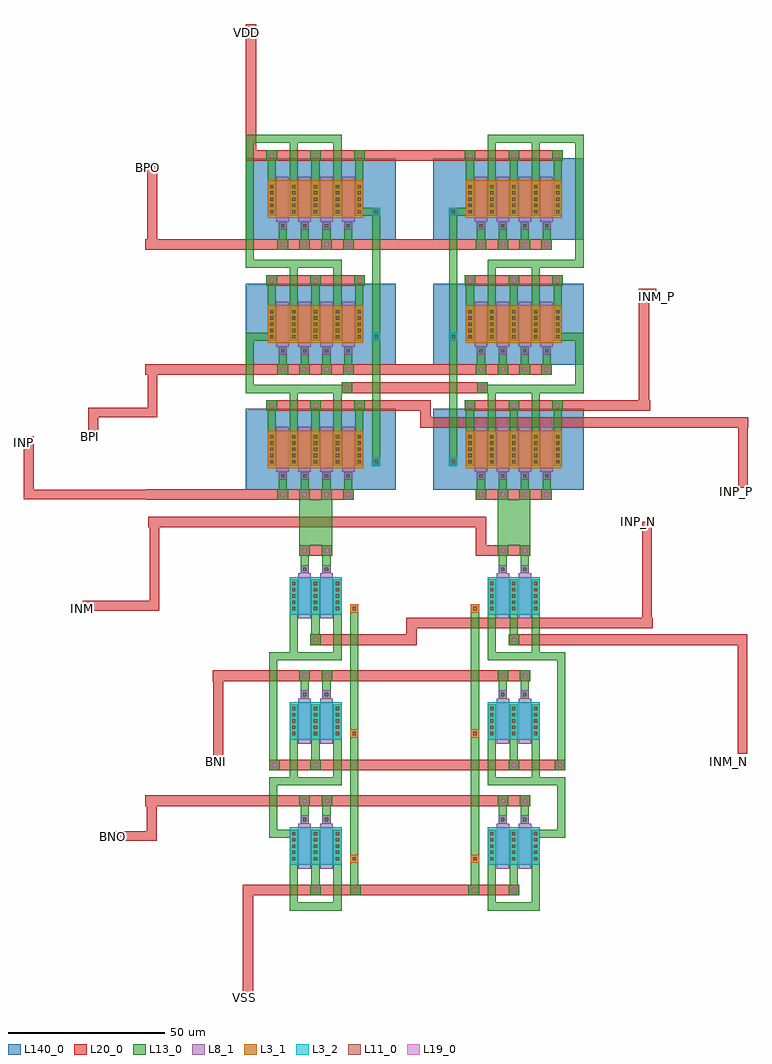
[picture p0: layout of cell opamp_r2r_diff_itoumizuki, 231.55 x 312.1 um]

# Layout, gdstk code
import gdstk
lib = gdstk.Library(unit=1e-6, precision=1e-07)
def R(c, l, rs):  # rectangles x0, y0, x1, y1
    for r in rs: c.add(gdstk.rectangle(r[:2], r[2:], *l))
def A(c, l, x, y, w, h, nx, ny, dx, dy):  # array of equal rectangles
    R(c, l, [(x+i*dx, y+j*dy, x+i*dx+w, y+j*dy+h) for i in range(nx) for j in range(ny)])
L3_1 = (3, 1)
L3_2 = (3, 2)
L8_1 = (8, 1)
L11_0 = (11, 0)
L13_0 = (13, 0)
L19_0 = (19, 0)
L20_0 = (20, 0)
L140_0 = (140, 0)

fet_p = lib.new_cell('fet_p')
R(fet_p, L3_1, [(-15.3,-6,15.3,6)])
A(fet_p, L11_0, -14.5, -4.5, 1, 1, 5, 5, 7, 2)
A(fet_p, L13_0, -15.3, -5.3, 2.6, 10.6, 5, 1, 7, 0)
fet_p.add(gdstk.FlexPath([(3.5,-7.2),(3.5,7.2)], 4, ends="flush", simple_path=True, layer=8, datatype=1))  # L8_1
fet_p.add(gdstk.FlexPath([(-3.5,-7.2),(-3.5,7.2)], 4, ends="flush", simple_path=True, layer=8, datatype=1))  # L8_1
fet_p.add(gdstk.FlexPath([(10.5,-7.2),(10.5,7.2)], 4, ends="flush", simple_path=True, layer=8, datatype=1))  # L8_1
fet_p.add(gdstk.FlexPath([(-10.5,-7.2),(-10.5,7.2)], 4, ends="flush", simple_path=True, layer=8, datatype=1))  # L8_1

cont_n = lib.new_cell('cont_n')
R(cont_n, L3_2, [(-1.3,-1.3,1.3,1.3)])
R(cont_n, L11_0, [(-0.5,-0.5,0.5,0.5)])
R(cont_n, L13_0, [(-1.3,-1.3,1.3,1.3)])

via_1 = lib.new_cell('via_1')
R(via_1, L13_0, [(-1.7,-1.7,1.7,1.7)])
R(via_1, L19_0, [(-0.7,-0.7,0.7,0.7)])
R(via_1, L20_0, [(-1.7,-1.7,1.7,1.7)])

cont_g = lib.new_cell('cont_g')
R(cont_g, L8_1, [(-1.3,-1.3,1.3,1.3)])
R(cont_g, L11_0, [(-0.5,-0.5,0.5,0.5)])
R(cont_g, L13_0, [(-1.3,-1.3,1.3,1.3)])

fet_n = lib.new_cell('fet_n')
R(fet_n, L3_2, [(-8.3,-6,8.3,6)])
A(fet_n, L11_0, -7.5, -4.5, 1, 1, 3, 5, 7, 2)
A(fet_n, L13_0, -8.3, -5.3, 2.6, 10.6, 3, 1, 7, 0)
fet_n.add(gdstk.FlexPath([(3.5,-7.2),(3.5,7.2)], 4, ends="flush", simple_path=True, layer=8, datatype=1))  # L8_1
fet_n.add(gdstk.FlexPath([(-3.5,-7.2),(-3.5,7.2)], 4, ends="flush", simple_path=True, layer=8, datatype=1))  # L8_1

cont_p = lib.new_cell('cont_p')
R(cont_p, L3_1, [(-1.3,-1.3,1.3,1.3)])
R(cont_p, L11_0, [(-0.5,-0.5,0.5,0.5)])
R(cont_p, L13_0, [(-1.3,-1.3,1.3,1.3)])

opamp_r2r_diff_itoumizuk = lib.new_cell('opamp_r2r_diff_itoumizuki')
R(opamp_r2r_diff_itoumizuk, L13_0, [(88.2,145.4,98.7,160), (151.6,145.4,162.1,160)])
A(opamp_r2r_diff_itoumizuk, L140_0, 71.1, 163.1, 48, 26, 1, 3, 0, 40)
A(opamp_r2r_diff_itoumizuk, L140_0, 131.1, 163.1, 48, 26, 1, 3, 0, 40)
opamp_r2r_diff_itoumizuk.add(gdstk.FlexPath([(141.5,252.1),(136.1,252.1)], 2.6, ends="flush", simple_path=True, layer=13, datatype=0))  # L13_0
opamp_r2r_diff_itoumizuk.add(gdstk.FlexPath([(148.5,195.4),(165.1,195.4)], 2.6, ends="flush", simple_path=True, layer=13, datatype=0))  # L13_0
opamp_r2r_diff_itoumizuk.add(gdstk.FlexPath([(163.8,181.4),(163.8,195.4)], 2.6, ends="flush", simple_path=True, layer=13, datatype=0))  # L13_0
opamp_r2r_diff_itoumizuk.add(gdstk.FlexPath([(170.8,181.4),(170.8,188.4)], 2.6, ends="flush", simple_path=True, layer=13, datatype=0))  # L13_0
opamp_r2r_diff_itoumizuk.add(gdstk.FlexPath([(156.8,181.4),(156.8,188.4)], 2.6, ends="flush", simple_path=True, layer=13, datatype=0))  # L13_0
opamp_r2r_diff_itoumizuk.add(gdstk.FlexPath([(142.8,181.4),(142.8,188.4)], 2.6, ends="flush", simple_path=True, layer=13, datatype=0))  # L13_0
opamp_r2r_diff_itoumizuk.add(gdstk.FlexPath([(149.8,181.4),(149.8,195.4)], 2.6, ends="flush", simple_path=True, layer=13, datatype=0))  # L13_0
opamp_r2r_diff_itoumizuk.add(gdstk.FlexPath([(148.5,275.4),(165.1,275.4)], 2.6, ends="flush", simple_path=True, layer=13, datatype=0))  # L13_0
opamp_r2r_diff_itoumizuk.add(gdstk.FlexPath([(163.8,261.4),(163.8,275.4)], 2.6, ends="flush", simple_path=True, layer=13, datatype=0))  # L13_0
opamp_r2r_diff_itoumizuk.add(gdstk.FlexPath([(170.8,261.4),(170.8,268.4)], 2.6, ends="flush", simple_path=True, layer=13, datatype=0))  # L13_0
opamp_r2r_diff_itoumizuk.add(gdstk.FlexPath([(156.8,261.4),(156.8,268.4)], 2.6, ends="flush", simple_path=True, layer=13, datatype=0))  # L13_0
opamp_r2r_diff_itoumizuk.add(gdstk.FlexPath([(142.8,261.4),(142.8,268.4)], 2.6, ends="flush", simple_path=True, layer=13, datatype=0))  # L13_0
opamp_r2r_diff_itoumizuk.add(gdstk.FlexPath([(149.8,261.4),(149.8,275.4)], 2.6, ends="flush", simple_path=True, layer=13, datatype=0))  # L13_0
opamp_r2r_diff_itoumizuk.add(gdstk.FlexPath([(148.5,235.4),(165.1,235.4)], 2.6, ends="flush", simple_path=True, layer=13, datatype=0))  # L13_0
opamp_r2r_diff_itoumizuk.add(gdstk.FlexPath([(163.8,221.4),(163.8,235.4)], 2.6, ends="flush", simple_path=True, layer=13, datatype=0))  # L13_0
opamp_r2r_diff_itoumizuk.add(gdstk.FlexPath([(170.8,221.4),(170.8,228.4)], 2.6, ends="flush", simple_path=True, layer=13, datatype=0))  # L13_0
opamp_r2r_diff_itoumizuk.add(gdstk.FlexPath([(156.8,221.4),(156.8,228.4)], 2.6, ends="flush", simple_path=True, layer=13, datatype=0))  # L13_0
opamp_r2r_diff_itoumizuk.add(gdstk.FlexPath([(142.8,221.4),(142.8,228.4)], 2.6, ends="flush", simple_path=True, layer=13, datatype=0))  # L13_0
opamp_r2r_diff_itoumizuk.add(gdstk.FlexPath([(149.8,221.4),(149.8,235.4)], 2.6, ends="flush", simple_path=True, layer=13, datatype=0))  # L13_0
opamp_r2r_diff_itoumizuk.add(gdstk.FlexPath([(167.3,166.3),(167.3,163.3)], 2.6, ends="flush", simple_path=True, layer=13, datatype=0))  # L13_0
opamp_r2r_diff_itoumizuk.add(gdstk.FlexPath([(160.3,166.3),(160.3,163.3)], 2.6, ends="flush", simple_path=True, layer=13, datatype=0))  # L13_0
opamp_r2r_diff_itoumizuk.add(gdstk.FlexPath([(153.3,166.3),(153.3,163.3)], 2.6, ends="flush", simple_path=True, layer=13, datatype=0))  # L13_0
opamp_r2r_diff_itoumizuk.add(gdstk.FlexPath([(146.3,166.3),(146.3,163.3)], 2.6, ends="flush", simple_path=True, layer=13, datatype=0))  # L13_0
opamp_r2r_diff_itoumizuk.add(gdstk.FlexPath([(167.3,206.3),(167.3,203.3)], 2.6, ends="flush", simple_path=True, layer=13, datatype=0))  # L13_0
opamp_r2r_diff_itoumizuk.add(gdstk.FlexPath([(160.3,206.3),(160.3,203.3)], 2.6, ends="flush", simple_path=True, layer=13, datatype=0))  # L13_0
opamp_r2r_diff_itoumizuk.add(gdstk.FlexPath([(153.3,206.3),(153.3,203.3)], 2.6, ends="flush", simple_path=True, layer=13, datatype=0))  # L13_0
opamp_r2r_diff_itoumizuk.add(gdstk.FlexPath([(146.3,206.3),(146.3,203.3)], 2.6, ends="flush", simple_path=True, layer=13, datatype=0))  # L13_0
opamp_r2r_diff_itoumizuk.add(gdstk.FlexPath([(167.3,246.3),(167.3,243.3)], 2.6, ends="flush", simple_path=True, layer=13, datatype=0))  # L13_0
opamp_r2r_diff_itoumizuk.add(gdstk.FlexPath([(160.3,246.3),(160.3,243.3)], 2.6, ends="flush", simple_path=True, layer=13, datatype=0))  # L13_0
opamp_r2r_diff_itoumizuk.add(gdstk.FlexPath([(153.3,246.3),(153.3,243.3)], 2.6, ends="flush", simple_path=True, layer=13, datatype=0))  # L13_0
opamp_r2r_diff_itoumizuk.add(gdstk.FlexPath([(146.3,246.3),(146.3,243.3)], 2.6, ends="flush", simple_path=True, layer=13, datatype=0))  # L13_0
opamp_r2r_diff_itoumizuk.add(gdstk.FlexPath([(165.1,235.4),(177.8,235.4),(177.8,275.4),(165.1,275.4)], 2.6, ends="flush", simple_path=True, layer=13, datatype=0))  # L13_0
opamp_r2r_diff_itoumizuk.add(gdstk.FlexPath([(165.1,195.4),(177.8,195.4),(177.8,212.1),(172.1,212.1)], 2.6, ends="flush", simple_path=True, layer=13, datatype=0))  # L13_0
opamp_r2r_diff_itoumizuk.add(gdstk.FlexPath([(137.4,210.8),(137.4,173.4)], 2.6, ends="flush", simple_path=True, layer=13, datatype=0))  # L13_0
opamp_r2r_diff_itoumizuk.add(gdstk.FlexPath([(137.4,250.8),(137.4,213.4)], 2.6, ends="flush", simple_path=True, layer=13, datatype=0))  # L13_0
opamp_r2r_diff_itoumizuk.add(gdstk.FlexPath([(93.4,261.4),(93.4,268.4)], 2.6, ends="flush", simple_path=True, layer=13, datatype=0))  # L13_0
opamp_r2r_diff_itoumizuk.add(gdstk.FlexPath([(79.4,261.4),(79.4,268.4)], 2.6, ends="flush", simple_path=True, layer=13, datatype=0))  # L13_0
opamp_r2r_diff_itoumizuk.add(gdstk.FlexPath([(86.4,261.4),(86.4,275.4)], 2.6, ends="flush", simple_path=True, layer=13, datatype=0))  # L13_0
opamp_r2r_diff_itoumizuk.add(gdstk.FlexPath([(114.1,252.1),(108.7,252.1)], 2.6, ends="flush", simple_path=True, layer=13, datatype=0))  # L13_0
opamp_r2r_diff_itoumizuk.add(gdstk.FlexPath([(85.1,235.4),(101.7,235.4)], 2.6, ends="flush", simple_path=True, layer=13, datatype=0))  # L13_0
opamp_r2r_diff_itoumizuk.add(gdstk.FlexPath([(100.4,221.4),(100.4,235.4)], 2.6, ends="flush", simple_path=True, layer=13, datatype=0))  # L13_0
opamp_r2r_diff_itoumizuk.add(gdstk.FlexPath([(107.4,221.4),(107.4,228.4)], 2.6, ends="flush", simple_path=True, layer=13, datatype=0))  # L13_0
opamp_r2r_diff_itoumizuk.add(gdstk.FlexPath([(93.4,221.4),(93.4,228.4)], 2.6, ends="flush", simple_path=True, layer=13, datatype=0))  # L13_0
opamp_r2r_diff_itoumizuk.add(gdstk.FlexPath([(79.4,221.4),(79.4,228.4)], 2.6, ends="flush", simple_path=True, layer=13, datatype=0))  # L13_0
opamp_r2r_diff_itoumizuk.add(gdstk.FlexPath([(86.4,221.4),(86.4,235.4)], 2.6, ends="flush", simple_path=True, layer=13, datatype=0))  # L13_0
opamp_r2r_diff_itoumizuk.add(gdstk.FlexPath([(103.9,206.3),(103.9,203.3)], 2.6, ends="flush", simple_path=True, layer=13, datatype=0))  # L13_0
opamp_r2r_diff_itoumizuk.add(gdstk.FlexPath([(96.9,206.3),(96.9,203.3)], 2.6, ends="flush", simple_path=True, layer=13, datatype=0))  # L13_0
opamp_r2r_diff_itoumizuk.add(gdstk.FlexPath([(89.9,206.3),(89.9,203.3)], 2.6, ends="flush", simple_path=True, layer=13, datatype=0))  # L13_0
opamp_r2r_diff_itoumizuk.add(gdstk.FlexPath([(82.9,206.3),(82.9,203.3)], 2.6, ends="flush", simple_path=True, layer=13, datatype=0))  # L13_0
opamp_r2r_diff_itoumizuk.add(gdstk.FlexPath([(103.9,166.3),(103.9,163.3)], 2.6, ends="flush", simple_path=True, layer=13, datatype=0))  # L13_0
opamp_r2r_diff_itoumizuk.add(gdstk.FlexPath([(96.9,166.3),(96.9,163.3)], 2.6, ends="flush", simple_path=True, layer=13, datatype=0))  # L13_0
opamp_r2r_diff_itoumizuk.add(gdstk.FlexPath([(89.9,166.3),(89.9,163.3)], 2.6, ends="flush", simple_path=True, layer=13, datatype=0))  # L13_0
opamp_r2r_diff_itoumizuk.add(gdstk.FlexPath([(82.9,166.3),(82.9,163.3)], 2.6, ends="flush", simple_path=True, layer=13, datatype=0))  # L13_0
opamp_r2r_diff_itoumizuk.add(gdstk.FlexPath([(103.9,246.3),(103.9,243.3)], 2.6, ends="flush", simple_path=True, layer=13, datatype=0))  # L13_0
opamp_r2r_diff_itoumizuk.add(gdstk.FlexPath([(96.9,246.3),(96.9,243.3)], 2.6, ends="flush", simple_path=True, layer=13, datatype=0))  # L13_0
opamp_r2r_diff_itoumizuk.add(gdstk.FlexPath([(89.9,246.3),(89.9,243.3)], 2.6, ends="flush", simple_path=True, layer=13, datatype=0))  # L13_0
opamp_r2r_diff_itoumizuk.add(gdstk.FlexPath([(82.9,246.3),(82.9,243.3)], 2.6, ends="flush", simple_path=True, layer=13, datatype=0))  # L13_0
opamp_r2r_diff_itoumizuk.add(gdstk.FlexPath([(85.1,195.4),(101.7,195.4)], 2.6, ends="flush", simple_path=True, layer=13, datatype=0))  # L13_0
opamp_r2r_diff_itoumizuk.add(gdstk.FlexPath([(100.4,181.4),(100.4,195.4)], 2.6, ends="flush", simple_path=True, layer=13, datatype=0))  # L13_0
opamp_r2r_diff_itoumizuk.add(gdstk.FlexPath([(107.4,181.4),(107.4,188.4)], 2.6, ends="flush", simple_path=True, layer=13, datatype=0))  # L13_0
opamp_r2r_diff_itoumizuk.add(gdstk.FlexPath([(93.4,181.4),(93.4,188.4)], 2.6, ends="flush", simple_path=True, layer=13, datatype=0))  # L13_0
opamp_r2r_diff_itoumizuk.add(gdstk.FlexPath([(79.4,181.4),(79.4,188.4)], 2.6, ends="flush", simple_path=True, layer=13, datatype=0))  # L13_0
opamp_r2r_diff_itoumizuk.add(gdstk.FlexPath([(86.4,181.4),(86.4,195.4)], 2.6, ends="flush", simple_path=True, layer=13, datatype=0))  # L13_0
opamp_r2r_diff_itoumizuk.add(gdstk.FlexPath([(85.1,275.4),(101.7,275.4)], 2.6, ends="flush", simple_path=True, layer=13, datatype=0))  # L13_0
opamp_r2r_diff_itoumizuk.add(gdstk.FlexPath([(100.4,261.4),(100.4,275.4)], 2.6, ends="flush", simple_path=True, layer=13, datatype=0))  # L13_0
opamp_r2r_diff_itoumizuk.add(gdstk.FlexPath([(107.4,261.4),(107.4,268.4)], 2.6, ends="flush", simple_path=True, layer=13, datatype=0))  # L13_0
opamp_r2r_diff_itoumizuk.add(gdstk.FlexPath([(112.8,250.8),(112.8,213.4)], 2.6, ends="flush", simple_path=True, layer=13, datatype=0))  # L13_0
opamp_r2r_diff_itoumizuk.add(gdstk.FlexPath([(85.1,235.4),(72.4,235.4),(72.4,275.4),(85.1,275.4)], 2.6, ends="flush", simple_path=True, layer=13, datatype=0))  # L13_0
opamp_r2r_diff_itoumizuk.add(gdstk.FlexPath([(85.1,195.4),(72.4,195.4),(72.4,212.1),(78.1,212.1)], 2.6, ends="flush", simple_path=True, layer=13, datatype=0))  # L13_0
opamp_r2r_diff_itoumizuk.add(gdstk.FlexPath([(112.8,210.8),(112.8,173.4)], 2.6, ends="flush", simple_path=True, layer=13, datatype=0))  # L13_0
opamp_r2r_diff_itoumizuk.add(gdstk.FlexPath([(86.4,69.9),(86.4,83.9)], 2.6, ends="flush", simple_path=True, layer=13, datatype=0))  # L13_0
opamp_r2r_diff_itoumizuk.add(gdstk.FlexPath([(96.9,62),(96.9,59)], 2.6, ends="flush", simple_path=True, layer=13, datatype=0))  # L13_0
opamp_r2r_diff_itoumizuk.add(gdstk.FlexPath([(89.9,62),(89.9,59)], 2.6, ends="flush", simple_path=True, layer=13, datatype=0))  # L13_0
opamp_r2r_diff_itoumizuk.add(gdstk.FlexPath([(105.8,43.9),(105.8,36.9)], 2.6, ends="flush", simple_path=True, layer=13, datatype=0))  # L13_0
opamp_r2r_diff_itoumizuk.add(gdstk.FlexPath([(85.1,69.9),(79.9,69.9),(79.9,53.2),(85.1,53.2)], 2.6, ends="flush", simple_path=True, layer=13, datatype=0))  # L13_0
opamp_r2r_diff_itoumizuk.add(gdstk.FlexPath([(105.8,83.9),(105.8,46.5)], 2.6, ends="flush", simple_path=True, layer=13, datatype=0))  # L13_0
opamp_r2r_diff_itoumizuk.add(gdstk.FlexPath([(93.4,36.9),(93.4,43.9)], 2.6, ends="flush", simple_path=True, layer=13, datatype=0))  # L13_0
opamp_r2r_diff_itoumizuk.add(gdstk.FlexPath([(85.1,29.9),(101.7,29.9)], 2.6, ends="flush", simple_path=True, layer=13, datatype=0))  # L13_0
opamp_r2r_diff_itoumizuk.add(gdstk.FlexPath([(100.4,29.9),(100.4,43.9)], 2.6, ends="flush", simple_path=True, layer=13, datatype=0))  # L13_0
opamp_r2r_diff_itoumizuk.add(gdstk.FlexPath([(85.1,109.9),(79.9,109.9),(79.9,76.9)], 2.6, ends="flush", simple_path=True, layer=13, datatype=0))  # L13_0
opamp_r2r_diff_itoumizuk.add(gdstk.FlexPath([(105.8,123.9),(105.8,86.5)], 2.6, ends="flush", simple_path=True, layer=13, datatype=0))  # L13_0
opamp_r2r_diff_itoumizuk.add(gdstk.FlexPath([(89.9,102),(89.9,99)], 2.6, ends="flush", simple_path=True, layer=13, datatype=0))  # L13_0
opamp_r2r_diff_itoumizuk.add(gdstk.FlexPath([(96.9,142),(96.9,139)], 2.6, ends="flush", simple_path=True, layer=13, datatype=0))  # L13_0
opamp_r2r_diff_itoumizuk.add(gdstk.FlexPath([(89.9,142),(89.9,139)], 2.6, ends="flush", simple_path=True, layer=13, datatype=0))  # L13_0
opamp_r2r_diff_itoumizuk.add(gdstk.FlexPath([(93.4,116.9),(93.4,123.9)], 2.6, ends="flush", simple_path=True, layer=13, datatype=0))  # L13_0
opamp_r2r_diff_itoumizuk.add(gdstk.FlexPath([(85.1,109.9),(101.7,109.9)], 2.6, ends="flush", simple_path=True, layer=13, datatype=0))  # L13_0
opamp_r2r_diff_itoumizuk.add(gdstk.FlexPath([(100.4,109.9),(100.4,123.9)], 2.6, ends="flush", simple_path=True, layer=13, datatype=0))  # L13_0
opamp_r2r_diff_itoumizuk.add(gdstk.FlexPath([(86.4,109.9),(86.4,123.9)], 2.6, ends="flush", simple_path=True, layer=13, datatype=0))  # L13_0
opamp_r2r_diff_itoumizuk.add(gdstk.FlexPath([(86.4,29.9),(86.4,43.9)], 2.6, ends="flush", simple_path=True, layer=13, datatype=0))  # L13_0
opamp_r2r_diff_itoumizuk.add(gdstk.FlexPath([(93.4,76.9),(93.4,83.9)], 2.6, ends="flush", simple_path=True, layer=13, datatype=0))  # L13_0
opamp_r2r_diff_itoumizuk.add(gdstk.FlexPath([(85.1,69.9),(101.7,69.9)], 2.6, ends="flush", simple_path=True, layer=13, datatype=0))  # L13_0
opamp_r2r_diff_itoumizuk.add(gdstk.FlexPath([(100.4,69.9),(100.4,83.9)], 2.6, ends="flush", simple_path=True, layer=13, datatype=0))  # L13_0
opamp_r2r_diff_itoumizuk.add(gdstk.FlexPath([(96.9,102),(96.9,99)], 2.6, ends="flush", simple_path=True, layer=13, datatype=0))  # L13_0
opamp_r2r_diff_itoumizuk.add(gdstk.FlexPath([(144.4,43.9),(144.4,36.9)], 2.6, ends="flush", simple_path=True, layer=13, datatype=0))  # L13_0
opamp_r2r_diff_itoumizuk.add(gdstk.FlexPath([(165.1,69.9),(172,69.9),(172,53.2),(165.1,53.2)], 2.6, ends="flush", simple_path=True, layer=13, datatype=0))  # L13_0
opamp_r2r_diff_itoumizuk.add(gdstk.FlexPath([(149.8,69.9),(149.8,83.9)], 2.6, ends="flush", simple_path=True, layer=13, datatype=0))  # L13_0
opamp_r2r_diff_itoumizuk.add(gdstk.FlexPath([(160.3,62),(160.3,59)], 2.6, ends="flush", simple_path=True, layer=13, datatype=0))  # L13_0
opamp_r2r_diff_itoumizuk.add(gdstk.FlexPath([(153.3,62),(153.3,59)], 2.6, ends="flush", simple_path=True, layer=13, datatype=0))  # L13_0
opamp_r2r_diff_itoumizuk.add(gdstk.FlexPath([(144.4,46.5),(144.4,83.9)], 2.6, ends="flush", simple_path=True, layer=13, datatype=0))  # L13_0
opamp_r2r_diff_itoumizuk.add(gdstk.FlexPath([(148.5,69.9),(165.1,69.9)], 2.6, ends="flush", simple_path=True, layer=13, datatype=0))  # L13_0
opamp_r2r_diff_itoumizuk.add(gdstk.FlexPath([(156.8,36.9),(156.8,43.9)], 2.6, ends="flush", simple_path=True, layer=13, datatype=0))  # L13_0
opamp_r2r_diff_itoumizuk.add(gdstk.FlexPath([(163.8,109.9),(163.8,123.9)], 2.6, ends="flush", simple_path=True, layer=13, datatype=0))  # L13_0
opamp_r2r_diff_itoumizuk.add(gdstk.FlexPath([(148.5,29.9),(165.1,29.9)], 2.6, ends="flush", simple_path=True, layer=13, datatype=0))  # L13_0
opamp_r2r_diff_itoumizuk.add(gdstk.FlexPath([(163.8,29.9),(163.8,43.9)], 2.6, ends="flush", simple_path=True, layer=13, datatype=0))  # L13_0
opamp_r2r_diff_itoumizuk.add(gdstk.FlexPath([(149.8,29.9),(149.8,43.9)], 2.6, ends="flush", simple_path=True, layer=13, datatype=0))  # L13_0
opamp_r2r_diff_itoumizuk.add(gdstk.FlexPath([(156.8,76.9),(156.8,83.9)], 2.6, ends="flush", simple_path=True, layer=13, datatype=0))  # L13_0
opamp_r2r_diff_itoumizuk.add(gdstk.FlexPath([(165.1,109.9),(172,109.9),(172,76.9)], 2.6, ends="flush", simple_path=True, layer=13, datatype=0))  # L13_0
opamp_r2r_diff_itoumizuk.add(gdstk.FlexPath([(144.4,123.9),(144.4,86.5)], 2.6, ends="flush", simple_path=True, layer=13, datatype=0))  # L13_0
opamp_r2r_diff_itoumizuk.add(gdstk.FlexPath([(163.8,69.9),(163.8,83.9)], 2.6, ends="flush", simple_path=True, layer=13, datatype=0))  # L13_0
opamp_r2r_diff_itoumizuk.add(gdstk.FlexPath([(149.8,109.9),(149.8,123.9)], 2.6, ends="flush", simple_path=True, layer=13, datatype=0))  # L13_0
opamp_r2r_diff_itoumizuk.add(gdstk.FlexPath([(160.3,102),(160.3,99)], 2.6, ends="flush", simple_path=True, layer=13, datatype=0))  # L13_0
opamp_r2r_diff_itoumizuk.add(gdstk.FlexPath([(153.3,102),(153.3,99)], 2.6, ends="flush", simple_path=True, layer=13, datatype=0))  # L13_0
opamp_r2r_diff_itoumizuk.add(gdstk.FlexPath([(160.3,142),(160.3,139)], 2.6, ends="flush", simple_path=True, layer=13, datatype=0))  # L13_0
opamp_r2r_diff_itoumizuk.add(gdstk.FlexPath([(153.3,142),(153.3,139)], 2.6, ends="flush", simple_path=True, layer=13, datatype=0))  # L13_0
opamp_r2r_diff_itoumizuk.add(gdstk.FlexPath([(156.8,116.9),(156.8,123.9)], 2.6, ends="flush", simple_path=True, layer=13, datatype=0))  # L13_0
opamp_r2r_diff_itoumizuk.add(gdstk.FlexPath([(148.5,109.9),(165.1,109.9)], 2.6, ends="flush", simple_path=True, layer=13, datatype=0))  # L13_0
opamp_r2r_diff_itoumizuk.add(gdstk.FlexPath([(41.2,243.1),(41.2,266.7)], 3.1, ends="flush", simple_path=True, layer=20, datatype=0))  # L20_0
opamp_r2r_diff_itoumizuk.add(gdstk.FlexPath([(41.3,200.6),(41.3,187.9),(22.3,187.9),(22.3,181.3),(22.3,181.3)], 3.1, ends="flush", simple_path=True, layer=20, datatype=0))  # L20_0
opamp_r2r_diff_itoumizuk.add(gdstk.FlexPath([(39.4,161.6),(1.7,161.6),(1.7,180.2),(1.7,180.2)], 3.1, ends="flush", simple_path=True, layer=20, datatype=0))  # L20_0
opamp_r2r_diff_itoumizuk.add(gdstk.FlexPath([(41.9,151.2),(41.9,126.1),(19,126.1)], 3.1, ends="flush", simple_path=True, layer=20, datatype=0))  # L20_0
opamp_r2r_diff_itoumizuk.add(gdstk.FlexPath([(41,62),(41,52.4),(28.7,52.4)], 3.1, ends="flush", simple_path=True, layer=20, datatype=0))  # L20_0
opamp_r2r_diff_itoumizuk.add(gdstk.FlexPath([(62.3,102),(62.3,76.6)], 3.1, ends="flush", simple_path=True, layer=20, datatype=0))  # L20_0
opamp_r2r_diff_itoumizuk.add(gdstk.FlexPath([(229.9,113.5),(229.9,78.7)], 3.1, ends="flush", simple_path=True, layer=20, datatype=0))  # L20_0
opamp_r2r_diff_itoumizuk.add(gdstk.FlexPath([(199.4,122.1),(199.4,152.9)], 3.1, ends="flush", simple_path=True, layer=20, datatype=0))  # L20_0
opamp_r2r_diff_itoumizuk.add(gdstk.FlexPath([(151.6,103.7),(162.1,103.7)], 3.4, ends="flush", simple_path=True, layer=20, datatype=0))  # L20_0
opamp_r2r_diff_itoumizuk.add(gdstk.FlexPath([(151.6,63.7),(162.1,63.7)], 3.4, ends="flush", simple_path=True, layer=20, datatype=0))  # L20_0
opamp_r2r_diff_itoumizuk.add(gdstk.FlexPath([(88.2,63.7),(98.7,63.7)], 3.4, ends="flush", simple_path=True, layer=20, datatype=0))  # L20_0
opamp_r2r_diff_itoumizuk.add(gdstk.FlexPath([(88.2,103.7),(98.7,103.7)], 3.4, ends="flush", simple_path=True, layer=20, datatype=0))  # L20_0
opamp_r2r_diff_itoumizuk.add(gdstk.FlexPath([(151.6,143.7),(162.1,143.7)], 3.4, ends="flush", simple_path=True, layer=20, datatype=0))  # L20_0
opamp_r2r_diff_itoumizuk.add(gdstk.FlexPath([(88.2,143.7),(98.7,143.7)], 3.4, ends="flush", simple_path=True, layer=20, datatype=0))  # L20_0
opamp_r2r_diff_itoumizuk.add(gdstk.FlexPath([(95.1,75.2),(155.1,75.2)], 3.4, ends="flush", simple_path=True, layer=20, datatype=0))  # L20_0
opamp_r2r_diff_itoumizuk.add(gdstk.FlexPath([(151.6,143.7),(146.3,143.7),(146.3,152.9),(39.9,152.9)], 3.4, ends="flush", simple_path=True, layer=20, datatype=0))  # L20_0
opamp_r2r_diff_itoumizuk.add(gdstk.FlexPath([(92,115.2),(124.1,115.2),(124.1,120.6),(201.3,120.6)], 3.4, ends="flush", simple_path=True, layer=20, datatype=0))  # L20_0
opamp_r2r_diff_itoumizuk.add(gdstk.FlexPath([(158.5,115.2),(231.5,115.2)], 3.4, ends="flush", simple_path=True, layer=20, datatype=0))  # L20_0
opamp_r2r_diff_itoumizuk.add(gdstk.FlexPath([(155.1,75.2),(173.3,75.2)], 3.4, ends="flush", simple_path=True, layer=20, datatype=0))  # L20_0
opamp_r2r_diff_itoumizuk.add(gdstk.FlexPath([(95.1,75.2),(78.6,75.2)], 3.4, ends="flush", simple_path=True, layer=20, datatype=0))  # L20_0
opamp_r2r_diff_itoumizuk.add(gdstk.FlexPath([(91.7,35.2),(71.8,35.2),(71.8,0)], 3.4, ends="flush", simple_path=True, layer=20, datatype=0))  # L20_0
opamp_r2r_diff_itoumizuk.add(gdstk.FlexPath([(155.1,35.2),(95.1,35.2)], 3.4, ends="flush", simple_path=True, layer=20, datatype=0))  # L20_0
opamp_r2r_diff_itoumizuk.add(gdstk.FlexPath([(88.2,63.7),(39,63.7)], 3.4, ends="flush", simple_path=True, layer=20, datatype=0))  # L20_0
opamp_r2r_diff_itoumizuk.add(gdstk.FlexPath([(88.2,103.7),(60.5,103.7)], 3.4, ends="flush", simple_path=True, layer=20, datatype=0))  # L20_0
opamp_r2r_diff_itoumizuk.add(gdstk.FlexPath([(151.6,63.7),(98.7,63.7)], 3.4, ends="flush", simple_path=True, layer=20, datatype=0))  # L20_0
opamp_r2r_diff_itoumizuk.add(gdstk.FlexPath([(151.6,103.7),(98.7,103.7)], 3.4, ends="flush", simple_path=True, layer=20, datatype=0))  # L20_0
opamp_r2r_diff_itoumizuk.add(gdstk.FlexPath([(230.1,183.5),(230.1,163.8)], 3.1, ends="flush", simple_path=True, layer=20, datatype=0))  # L20_0
opamp_r2r_diff_itoumizuk.add(gdstk.FlexPath([(198.4,191.6),(198.4,225.8),(202.4,225.8)], 3.4, ends="flush", simple_path=True, layer=20, datatype=0))  # L20_0
opamp_r2r_diff_itoumizuk.add(gdstk.FlexPath([(141.1,190.1),(172.5,190.1)], 3.4, ends="flush", simple_path=True, layer=20, datatype=0))  # L20_0
opamp_r2r_diff_itoumizuk.add(gdstk.FlexPath([(141.1,270.1),(172.5,270.1)], 3.4, ends="flush", simple_path=True, layer=20, datatype=0))  # L20_0
opamp_r2r_diff_itoumizuk.add(gdstk.FlexPath([(141.1,230.1),(172.5,230.1)], 3.4, ends="flush", simple_path=True, layer=20, datatype=0))  # L20_0
opamp_r2r_diff_itoumizuk.add(gdstk.FlexPath([(77.7,190.1),(109.1,190.1)], 3.4, ends="flush", simple_path=True, layer=20, datatype=0))  # L20_0
opamp_r2r_diff_itoumizuk.add(gdstk.FlexPath([(77.7,270.1),(109.1,270.1)], 3.4, ends="flush", simple_path=True, layer=20, datatype=0))  # L20_0
opamp_r2r_diff_itoumizuk.add(gdstk.FlexPath([(169,161.6),(144.6,161.6)], 3.4, ends="flush", simple_path=True, layer=20, datatype=0))  # L20_0
opamp_r2r_diff_itoumizuk.add(gdstk.FlexPath([(169,201.6),(144.6,201.6)], 3.4, ends="flush", simple_path=True, layer=20, datatype=0))  # L20_0
opamp_r2r_diff_itoumizuk.add(gdstk.FlexPath([(105.6,161.6),(81.2,161.6)], 3.4, ends="flush", simple_path=True, layer=20, datatype=0))  # L20_0
opamp_r2r_diff_itoumizuk.add(gdstk.FlexPath([(105.6,201.6),(81.2,201.6)], 3.4, ends="flush", simple_path=True, layer=20, datatype=0))  # L20_0
opamp_r2r_diff_itoumizuk.add(gdstk.FlexPath([(169,241.6),(144.6,241.6)], 3.4, ends="flush", simple_path=True, layer=20, datatype=0))  # L20_0
opamp_r2r_diff_itoumizuk.add(gdstk.FlexPath([(105.6,241.6),(81.2,241.6)], 3.4, ends="flush", simple_path=True, layer=20, datatype=0))  # L20_0
opamp_r2r_diff_itoumizuk.add(gdstk.FlexPath([(77.7,230.1),(109.1,230.1)], 3.4, ends="flush", simple_path=True, layer=20, datatype=0))  # L20_0
opamp_r2r_diff_itoumizuk.add(gdstk.FlexPath([(81.2,161.6),(39.2,161.6)], 3.4, ends="flush", simple_path=True, layer=20, datatype=0))  # L20_0
opamp_r2r_diff_itoumizuk.add(gdstk.FlexPath([(145.1,195.8),(105.1,195.8)], 3.4, ends="flush", simple_path=True, layer=20, datatype=0))  # L20_0
opamp_r2r_diff_itoumizuk.add(gdstk.FlexPath([(109.1,190.1),(128.5,190.1),(128.5,184.7),(231.7,184.7)], 3.4, ends="flush", simple_path=True, layer=20, datatype=0))  # L20_0
opamp_r2r_diff_itoumizuk.add(gdstk.FlexPath([(141.3,190.1),(200.5,190.1)], 3.4, ends="flush", simple_path=True, layer=20, datatype=0))  # L20_0
opamp_r2r_diff_itoumizuk.add(gdstk.FlexPath([(144.6,201.6),(105.6,201.6)], 3.4, ends="flush", simple_path=True, layer=20, datatype=0))  # L20_0
opamp_r2r_diff_itoumizuk.add(gdstk.FlexPath([(81.2,201.6),(39,201.6)], 3.4, ends="flush", simple_path=True, layer=20, datatype=0))  # L20_0
opamp_r2r_diff_itoumizuk.add(gdstk.FlexPath([(81.2,241.6),(39,241.6)], 3.4, ends="flush", simple_path=True, layer=20, datatype=0))  # L20_0
opamp_r2r_diff_itoumizuk.add(gdstk.FlexPath([(81.2,241.6),(39,241.6)], 3.4, ends="flush", simple_path=True, layer=20, datatype=0))  # L20_0
opamp_r2r_diff_itoumizuk.add(gdstk.FlexPath([(144.6,241.6),(105.6,241.6)], 3.4, ends="flush", simple_path=True, layer=20, datatype=0))  # L20_0
opamp_r2r_diff_itoumizuk.add(gdstk.FlexPath([(77.7,270.1),(72.8,270.1),(72.8,312.1)], 3.4, ends="flush", simple_path=True, layer=20, datatype=0))  # L20_0
opamp_r2r_diff_itoumizuk.add(gdstk.FlexPath([(141.1,270.1),(109.1,270.1)], 3.4, ends="flush", simple_path=True, layer=20, datatype=0))  # L20_0
opamp_r2r_diff_itoumizuk.add(gdstk.Reference(fet_p, (156.8,216.1)))
opamp_r2r_diff_itoumizuk.add(gdstk.Reference(cont_n, (137.4,252.1)))
opamp_r2r_diff_itoumizuk.add(gdstk.Reference(via_1, (170.8,270.1)))
opamp_r2r_diff_itoumizuk.add(gdstk.Reference(via_1, (156.8,270.1)))
opamp_r2r_diff_itoumizuk.add(gdstk.Reference(via_1, (142.8,270.1)))
opamp_r2r_diff_itoumizuk.add(gdstk.Reference(via_1, (170.8,230.1)))
opamp_r2r_diff_itoumizuk.add(gdstk.Reference(via_1, (156.8,230.1)))
opamp_r2r_diff_itoumizuk.add(gdstk.Reference(via_1, (142.8,230.1)))
opamp_r2r_diff_itoumizuk.add(gdstk.Reference(via_1, (167.3,241.6)))
opamp_r2r_diff_itoumizuk.add(gdstk.Reference(via_1, (160.3,241.6)))
opamp_r2r_diff_itoumizuk.add(gdstk.Reference(via_1, (153.3,241.6)))
opamp_r2r_diff_itoumizuk.add(gdstk.Reference(via_1, (146.3,241.6)))
opamp_r2r_diff_itoumizuk.add(gdstk.Reference(cont_g, (167.3,247.6)))
opamp_r2r_diff_itoumizuk.add(gdstk.Reference(cont_g, (160.3,247.6)))
opamp_r2r_diff_itoumizuk.add(gdstk.Reference(cont_g, (153.3,247.6)))
opamp_r2r_diff_itoumizuk.add(gdstk.Reference(cont_g, (146.3,247.6)))
opamp_r2r_diff_itoumizuk.add(gdstk.Reference(fet_p, (156.8,256.1)))
opamp_r2r_diff_itoumizuk.add(gdstk.Reference(via_1, (146.8,195.8)))
opamp_r2r_diff_itoumizuk.add(gdstk.Reference(cont_n, (137.4,172.1)))
opamp_r2r_diff_itoumizuk.add(gdstk.Reference(cont_n, (137.4,212.1)))
opamp_r2r_diff_itoumizuk.add(gdstk.Reference(via_1, (170.8,190.1)))
opamp_r2r_diff_itoumizuk.add(gdstk.Reference(via_1, (156.8,190.1)))
opamp_r2r_diff_itoumizuk.add(gdstk.Reference(via_1, (142.8,190.1)))
opamp_r2r_diff_itoumizuk.add(gdstk.Reference(via_1, (167.3,161.6)))
opamp_r2r_diff_itoumizuk.add(gdstk.Reference(via_1, (160.3,161.6)))
opamp_r2r_diff_itoumizuk.add(gdstk.Reference(via_1, (153.3,161.6)))
opamp_r2r_diff_itoumizuk.add(gdstk.Reference(via_1, (146.3,161.6)))
opamp_r2r_diff_itoumizuk.add(gdstk.Reference(via_1, (167.3,201.6)))
opamp_r2r_diff_itoumizuk.add(gdstk.Reference(via_1, (160.3,201.6)))
opamp_r2r_diff_itoumizuk.add(gdstk.Reference(via_1, (153.3,201.6)))
opamp_r2r_diff_itoumizuk.add(gdstk.Reference(via_1, (146.3,201.6)))
opamp_r2r_diff_itoumizuk.add(gdstk.Reference(cont_g, (167.3,167.6)))
opamp_r2r_diff_itoumizuk.add(gdstk.Reference(cont_g, (160.3,167.6)))
opamp_r2r_diff_itoumizuk.add(gdstk.Reference(cont_g, (153.3,167.6)))
opamp_r2r_diff_itoumizuk.add(gdstk.Reference(cont_g, (167.3,207.6)))
opamp_r2r_diff_itoumizuk.add(gdstk.Reference(cont_g, (160.3,207.6)))
opamp_r2r_diff_itoumizuk.add(gdstk.Reference(cont_g, (153.3,207.6)))
opamp_r2r_diff_itoumizuk.add(gdstk.Reference(cont_g, (146.3,167.6)))
opamp_r2r_diff_itoumizuk.add(gdstk.Reference(cont_g, (146.3,207.6)))
opamp_r2r_diff_itoumizuk.add(gdstk.Reference(fet_p, (156.8,176.1)))
opamp_r2r_diff_itoumizuk.add(gdstk.Reference(cont_g, (82.9,167.6)))
opamp_r2r_diff_itoumizuk.add(gdstk.Reference(cont_g, (82.9,207.6)))
opamp_r2r_diff_itoumizuk.add(gdstk.Reference(fet_p, (93.4,176.1)))
opamp_r2r_diff_itoumizuk.add(gdstk.Reference(via_1, (107.4,190.1)))
opamp_r2r_diff_itoumizuk.add(gdstk.Reference(via_1, (93.4,190.1)))
opamp_r2r_diff_itoumizuk.add(gdstk.Reference(via_1, (79.4,190.1)))
opamp_r2r_diff_itoumizuk.add(gdstk.Reference(cont_g, (103.9,167.6)))
opamp_r2r_diff_itoumizuk.add(gdstk.Reference(cont_g, (96.9,167.6)))
opamp_r2r_diff_itoumizuk.add(gdstk.Reference(cont_g, (89.9,167.6)))
opamp_r2r_diff_itoumizuk.add(gdstk.Reference(via_1, (103.9,161.6)))
opamp_r2r_diff_itoumizuk.add(gdstk.Reference(via_1, (96.9,161.6)))
opamp_r2r_diff_itoumizuk.add(gdstk.Reference(via_1, (89.9,161.6)))
opamp_r2r_diff_itoumizuk.add(gdstk.Reference(via_1, (82.9,161.6)))
opamp_r2r_diff_itoumizuk.add(gdstk.Reference(cont_g, (103.9,207.6)))
opamp_r2r_diff_itoumizuk.add(gdstk.Reference(cont_g, (96.9,207.6)))
opamp_r2r_diff_itoumizuk.add(gdstk.Reference(via_1, (103.9,201.6)))
opamp_r2r_diff_itoumizuk.add(gdstk.Reference(via_1, (96.9,201.6)))
opamp_r2r_diff_itoumizuk.add(gdstk.Reference(fet_p, (93.4,216.1)))
opamp_r2r_diff_itoumizuk.add(gdstk.Reference(via_1, (96.9,241.6)))
opamp_r2r_diff_itoumizuk.add(gdstk.Reference(via_1, (89.9,241.6)))
opamp_r2r_diff_itoumizuk.add(gdstk.Reference(via_1, (82.9,241.6)))
opamp_r2r_diff_itoumizuk.add(gdstk.Reference(cont_g, (103.9,247.6)))
opamp_r2r_diff_itoumizuk.add(gdstk.Reference(cont_g, (96.9,247.6)))
opamp_r2r_diff_itoumizuk.add(gdstk.Reference(cont_g, (89.9,247.6)))
opamp_r2r_diff_itoumizuk.add(gdstk.Reference(via_1, (107.4,270.1)))
opamp_r2r_diff_itoumizuk.add(gdstk.Reference(via_1, (93.4,270.1)))
opamp_r2r_diff_itoumizuk.add(gdstk.Reference(via_1, (79.4,270.1)))
opamp_r2r_diff_itoumizuk.add(gdstk.Reference(via_1, (107.4,230.1)))
opamp_r2r_diff_itoumizuk.add(gdstk.Reference(via_1, (93.4,230.1)))
opamp_r2r_diff_itoumizuk.add(gdstk.Reference(via_1, (79.4,230.1)))
opamp_r2r_diff_itoumizuk.add(gdstk.Reference(cont_g, (82.9,247.6)))
opamp_r2r_diff_itoumizuk.add(gdstk.Reference(fet_p, (93.4,256.1)))
opamp_r2r_diff_itoumizuk.add(gdstk.Reference(cont_n, (112.8,252.1)))
opamp_r2r_diff_itoumizuk.add(gdstk.Reference(via_1, (103.9,241.6)))
opamp_r2r_diff_itoumizuk.add(gdstk.Reference(via_1, (89.9,201.6)))
opamp_r2r_diff_itoumizuk.add(gdstk.Reference(via_1, (103.4,195.8)))
opamp_r2r_diff_itoumizuk.add(gdstk.Reference(via_1, (82.9,201.6)))
opamp_r2r_diff_itoumizuk.add(gdstk.Reference(cont_n, (112.8,172.1)))
opamp_r2r_diff_itoumizuk.add(gdstk.Reference(cont_g, (89.9,207.6)))
opamp_r2r_diff_itoumizuk.add(gdstk.Reference(cont_n, (112.8,212.1)))
opamp_r2r_diff_itoumizuk.add(gdstk.Reference(fet_n, (93.4,129.2)))
opamp_r2r_diff_itoumizuk.add(gdstk.Reference(via_1, (97,63.7)))
opamp_r2r_diff_itoumizuk.add(gdstk.Reference(via_1, (89.9,63.7)))
opamp_r2r_diff_itoumizuk.add(gdstk.Reference(via_1, (97,103.7)))
opamp_r2r_diff_itoumizuk.add(gdstk.Reference(via_1, (89.9,103.7)))
opamp_r2r_diff_itoumizuk.add(gdstk.Reference(via_1, (97,143.7)))
opamp_r2r_diff_itoumizuk.add(gdstk.Reference(via_1, (89.9,143.7)))
opamp_r2r_diff_itoumizuk.add(gdstk.Reference(via_1, (80.3,75.2)))
opamp_r2r_diff_itoumizuk.add(gdstk.Reference(cont_p, (105.8,85.2)))
opamp_r2r_diff_itoumizuk.add(gdstk.Reference(cont_g, (96.9,97.7)))
opamp_r2r_diff_itoumizuk.add(gdstk.Reference(cont_g, (89.9,97.7)))
opamp_r2r_diff_itoumizuk.add(gdstk.Reference(cont_g, (96.9,137.7)))
opamp_r2r_diff_itoumizuk.add(gdstk.Reference(cont_g, (89.9,137.7)))
opamp_r2r_diff_itoumizuk.add(gdstk.Reference(fet_n, (93.4,89.2)))
opamp_r2r_diff_itoumizuk.add(gdstk.Reference(cont_p, (105.8,125.2)))
opamp_r2r_diff_itoumizuk.add(gdstk.Reference(via_1, (93.4,75.2)))
opamp_r2r_diff_itoumizuk.add(gdstk.Reference(via_1, (93.4,115.2)))
opamp_r2r_diff_itoumizuk.add(gdstk.Reference(fet_n, (93.4,49.2)))
opamp_r2r_diff_itoumizuk.add(gdstk.Reference(via_1, (106.2,35.2)))
opamp_r2r_diff_itoumizuk.add(gdstk.Reference(via_1, (93.4,35.2)))
opamp_r2r_diff_itoumizuk.add(gdstk.Reference(cont_p, (105.8,45.2)))
opamp_r2r_diff_itoumizuk.add(gdstk.Reference(cont_g, (96.9,57.7)))
opamp_r2r_diff_itoumizuk.add(gdstk.Reference(cont_g, (89.9,57.7)))
opamp_r2r_diff_itoumizuk.add(gdstk.Reference(cont_g, (153.3,137.7)))
opamp_r2r_diff_itoumizuk.add(gdstk.Reference(via_1, (171.6,75.2)))
opamp_r2r_diff_itoumizuk.add(gdstk.Reference(fet_n, (156.8,129.2)))
opamp_r2r_diff_itoumizuk.add(gdstk.Reference(cont_g, (160.3,137.7)))
opamp_r2r_diff_itoumizuk.add(gdstk.Reference(via_1, (160.4,143.7)))
opamp_r2r_diff_itoumizuk.add(gdstk.Reference(via_1, (156.8,75.2)))
opamp_r2r_diff_itoumizuk.add(gdstk.Reference(via_1, (153.3,143.7)))
opamp_r2r_diff_itoumizuk.add(gdstk.Reference(via_1, (156.8,115.2)))
opamp_r2r_diff_itoumizuk.add(gdstk.Reference(fet_n, (156.8,89.2)))
opamp_r2r_diff_itoumizuk.add(gdstk.Reference(cont_g, (160.3,97.7)))
opamp_r2r_diff_itoumizuk.add(gdstk.Reference(via_1, (160.4,63.7)))
opamp_r2r_diff_itoumizuk.add(gdstk.Reference(cont_p, (144.4,45.2)))
opamp_r2r_diff_itoumizuk.add(gdstk.Reference(via_1, (144,35.2)))
opamp_r2r_diff_itoumizuk.add(gdstk.Reference(via_1, (156.8,35.2)))
opamp_r2r_diff_itoumizuk.add(gdstk.Reference(cont_p, (144.4,85.2)))
opamp_r2r_diff_itoumizuk.add(gdstk.Reference(fet_n, (156.8,49.2)))
opamp_r2r_diff_itoumizuk.add(gdstk.Reference(via_1, (153.3,63.7)))
opamp_r2r_diff_itoumizuk.add(gdstk.Reference(cont_p, (144.4,125.2)))
opamp_r2r_diff_itoumizuk.add(gdstk.Reference(via_1, (160.4,103.7)))
opamp_r2r_diff_itoumizuk.add(gdstk.Reference(cont_g, (153.3,57.7)))
opamp_r2r_diff_itoumizuk.add(gdstk.Reference(cont_g, (160.3,57.7)))
opamp_r2r_diff_itoumizuk.add(gdstk.Reference(via_1, (153.3,103.7)))
opamp_r2r_diff_itoumizuk.add(gdstk.Reference(cont_g, (153.3,97.7)))
opamp_r2r_diff_itoumizuk.add(gdstk.Label('INM', (19,125.1), layer=49, texttype=0))
opamp_r2r_diff_itoumizuk.add(gdstk.Label('INM_N', (225.3,76.2), layer=49, texttype=0))
opamp_r2r_diff_itoumizuk.add(gdstk.Label('INP_N', (196.8,153.1), layer=49, texttype=0))
opamp_r2r_diff_itoumizuk.add(gdstk.Label('VSS', (70.6,0.9), layer=49, texttype=0))
opamp_r2r_diff_itoumizuk.add(gdstk.Label('BNI', (61.8,76.3), layer=49, texttype=0))
opamp_r2r_diff_itoumizuk.add(gdstk.Label('BNO', (28.5,52.2), layer=49, texttype=0))
opamp_r2r_diff_itoumizuk.add(gdstk.Label('INP', (0,178.3), layer=49, texttype=0))
opamp_r2r_diff_itoumizuk.add(gdstk.Label('INP_P', (228.1,162.6), layer=49, texttype=0))
opamp_r2r_diff_itoumizuk.add(gdstk.Label('INM_P', (202.5,225), layer=49, texttype=0))
opamp_r2r_diff_itoumizuk.add(gdstk.Label('VDD', (71.4,309.4), layer=49, texttype=0))
opamp_r2r_diff_itoumizuk.add(gdstk.Label('BPO', (39.6,266.3), layer=49, texttype=0))
opamp_r2r_diff_itoumizuk.add(gdstk.Label('BPI', (21.3,180.3), layer=49, texttype=0))

lib.write_gds('opamp_r2r_diff_itoumizuki.gds')
